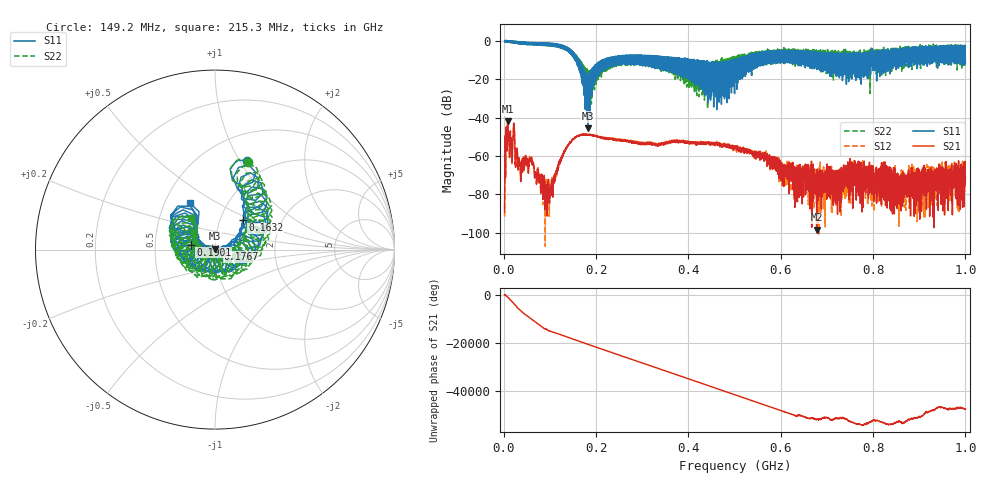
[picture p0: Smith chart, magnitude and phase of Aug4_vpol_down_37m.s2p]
!Keysight Technologies N9923A: A.12.45
!Date: Tuesday, 05 August 2025 21:01:58
!Timezone: (UTC+08:00) Kuala Lumpur, Singapore
!Model: N9923A
!Serial: MY61181427
!GPS Latitude:
!GPS Longitude:
!GPS TimeStamp: 0001-01-01 00:00:00Z
!GPS Seconds Since Last Read: 0
!CHECKSUM:0186394284
!Correction: S11(ON U)S21(ON U)S12(ON U)S22(ON U)
!S2P File: Measurements:S11,S21,S12,S22:
# Hz S DB R 50
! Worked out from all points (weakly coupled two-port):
!   4001 points, 2 MHz to 1 GHz, reference 50 ohm
!   highest |S21| = -41.87 dB at 8.487 MHz (marker M1); lowest = -98.3 dB at 677.9 MHz (marker M2)
!   lowest |S11| = -45.5 dB at 183.1 MHz (marker M3), VSWR 1.01, Z = 50.1 + j0.526 ohm
!   |S11| at or under -10 dB: 162.8 MHz to 213.8 MHz (51.05 MHz wide, 27.1 % of centre); 412.2 MHz to 420.4 MHz (8.15 MHz wide, 1.96 % of centre); 420.6 MHz to 494 MHz (73.37 MHz wide, 16 % of centre)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
!   |S22| runs from -35.1 to 0.1 dB; largest |S21 - S12| = 0.001
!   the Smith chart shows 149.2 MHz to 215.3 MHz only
!   S11 on the Smith chart (normalised r, x): 149.2 MHz: 0.78, +1.07; 163.2 MHz: 1.28, +0.44; 176.7 MHz: 1.03, +0.01; 190.1 MHz: 0.76, +0.04; 215.3 MHz: 0.67, +0.38
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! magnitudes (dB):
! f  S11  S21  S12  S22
! 2 MHz  -0.1  -89.0  -91.5  -0.1
! 8.487 MHz  0.0  -41.9  -41.7  -0.1
! 18.97 MHz  -0.7  -57.7  -57.2  -0.9
! 35.93 MHz  -1.5  -66.9  -67.8  -1.6
! 60.13 MHz  -1.1  -60.8  -61.0  -1.3
! 94.31 MHz  -1.6  -89.9  -86.0  -1.5
! 149.2 MHz  -5.6  -51.5  -51.4  -5.6
! 163.2 MHz  -13.0  -49.6  -49.2  -11.4
! 168.4 MHz  -19.3  -49.1  -49.1  -16.9
! 176.7 MHz  -35.7  -48.8  -48.6  -22.5
! 183.1 MHz  -45.5  -48.9  -48.7  -23.1
! 190.1 MHz  -17.1  -49.1  -49.0  -22.1
! 215.3 MHz  -10.6  -50.8  -50.6  -13.1
! 334.8 MHz  -8.0  -54.6  -53.7  -9.8
! 445.1 MHz  -16.8  -53.4  -53.0  -21.2
! 501 MHz  -9.9  -54.6  -55.5  -8.8
! 635.7 MHz  -8.2  -75.3  -66.8  -5.0
! 667.4 MHz  -6.3  -69.4  -81.5  -6.1
! 677.9 MHz  -10.0  -98.3  -79.8  -4.8
! 833.8 MHz  -5.8  -82.8  -72.3  -12.7
! 912.4 MHz  -9.8  -75.0  -82.4  -4.1
! 1 GHz  -11.7  -70.6  -67.3  -4.3
